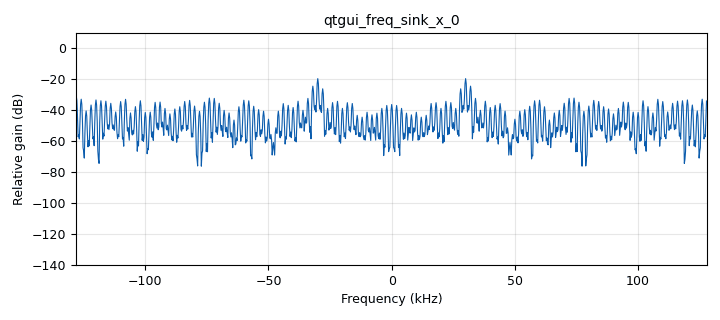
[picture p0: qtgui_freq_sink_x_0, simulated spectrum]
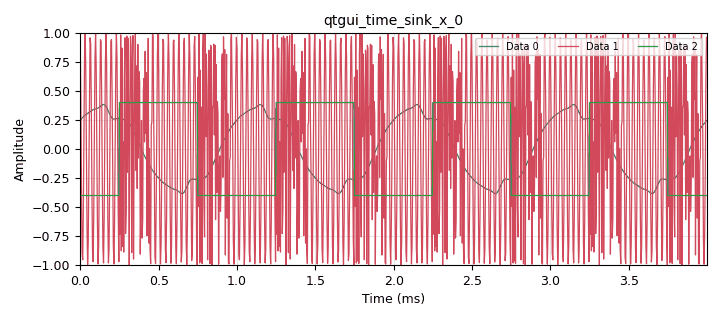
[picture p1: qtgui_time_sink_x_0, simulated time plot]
<?xml version='1.0' encoding='utf-8'?>
<flow_graph>
<block>
<key>options</key>
<param><key>id</key><value>top_block</value></param>
<param><key>generate_options</key><value>qt_gui</value></param>
<param><key>category</key><value>Custom</value></param>
</block>
<block>
<key>variable</key>
<param><key>id</key><value>samp_rate</value></param>
<param><key>value</key><value>32000*8</value></param>
</block>
<block>
<key>blocks_complex_to_float</key>
<param><key>id</key><value>blocks_complex_to_float_0</value></param>
</block>
<block>
<key>qtgui_freq_sink_x</key>
<param><key>id</key><value>qtgui_freq_sink_x_0</value></param>
<param><key>type</key><value>float</value></param>
<param><key>fftsize</key><value>1024</value></param>
<param><key>wintype</key><value>firdes.WIN_BLACKMAN_hARRIS</value></param>
<param><key>fc</key><value>0</value></param>
<param><key>bw</key><value>samp_rate</value></param>
</block>
<block>
<key>analog_fm_preemph</key>
<param><key>id</key><value>analog_fm_preemph_0</value></param>
<param><key>samp_rate</key><value>samp_rate</value></param>
<param><key>tau</key><value>75e-6</value></param>
</block>
<block>
<key>analog_wfm_tx</key>
<param><key>id</key><value>analog_wfm_tx_0</value></param>
<param><key>audio_rate</key><value>samp_rate</value></param>
<param><key>quad_rate</key><value>samp_rate</value></param>
<param><key>tau</key><value>75e-6</value></param>
<param><key>max_dev</key><value>75e3</value></param>
</block>
<block>
<key>analog_fm_demod_cf</key>
<param><key>id</key><value>analog_fm_demod_cf_0</value></param>
<param><key>chan_rate</key><value>samp_rate</value></param>
<param><key>audio_decim</key><value>1</value></param>
<param><key>deviation</key><value>75000</value></param>
<param><key>audio_pass</key><value>15000</value></param>
<param><key>audio_stop</key><value>16000</value></param>
<param><key>gain</key><value>1.0</value></param>
<param><key>tau</key><value>75e-6</value></param>
</block>
<block>
<key>analog_fm_deemph</key>
<param><key>id</key><value>analog_fm_deemph_0</value></param>
<param><key>samp_rate</key><value>samp_rate</value></param>
<param><key>tau</key><value>75e-6</value></param>
</block>
<block>
<key>qtgui_time_sink_x</key>
<param><key>id</key><value>qtgui_time_sink_x_0</value></param>
<param><key>type</key><value>float</value></param>
<param><key>size</key><value>1024</value></param>
<param><key>srate</key><value>samp_rate</value></param>
<param><key>nconnections</key><value>3</value></param>
</block>
<block>
<key>analog_sig_source_x</key>
<param><key>id</key><value>analog_sig_source_x_0</value></param>
<param><key>type</key><value>float</value></param>
<param><key>samp_rate</key><value>samp_rate</value></param>
<param><key>waveform</key><value>analog.GR_SQR_WAVE</value></param>
<param><key>freq</key><value>1000</value></param>
<param><key>amp</key><value>0.8</value></param>
<param><key>offset</key><value>-0.4</value></param>
</block>
<connection><source_block_id>blocks_complex_to_float_0</source_block_id><sink_block_id>qtgui_time_sink_x_0</sink_block_id><source_key>0</source_key><sink_key>1</sink_key></connection>
<connection><source_block_id>analog_wfm_tx_0</source_block_id><sink_block_id>blocks_complex_to_float_0</sink_block_id><source_key>0</source_key><sink_key>0</sink_key></connection>
<connection><source_block_id>blocks_complex_to_float_0</source_block_id><sink_block_id>qtgui_freq_sink_x_0</sink_block_id><source_key>0</source_key><sink_key>0</sink_key></connection>
<connection><source_block_id>analog_sig_source_x_0</source_block_id><sink_block_id>qtgui_time_sink_x_0</sink_block_id><source_key>0</source_key><sink_key>2</sink_key></connection>
<connection><source_block_id>analog_wfm_tx_0</source_block_id><sink_block_id>analog_fm_demod_cf_0</sink_block_id><source_key>0</source_key><sink_key>0</sink_key></connection>
<connection><source_block_id>analog_sig_source_x_0</source_block_id><sink_block_id>analog_fm_preemph_0</sink_block_id><source_key>0</source_key><sink_key>0</sink_key></connection>
<connection><source_block_id>analog_fm_preemph_0</source_block_id><sink_block_id>analog_wfm_tx_0</sink_block_id><source_key>0</source_key><sink_key>0</sink_key></connection>
<connection><source_block_id>analog_fm_demod_cf_0</source_block_id><sink_block_id>analog_fm_deemph_0</sink_block_id><source_key>0</source_key><sink_key>0</sink_key></connection>
<connection><source_block_id>analog_fm_deemph_0</source_block_id><sink_block_id>qtgui_time_sink_x_0</sink_block_id><source_key>0</source_key><sink_key>0</sink_key></connection>
</flow_graph>
